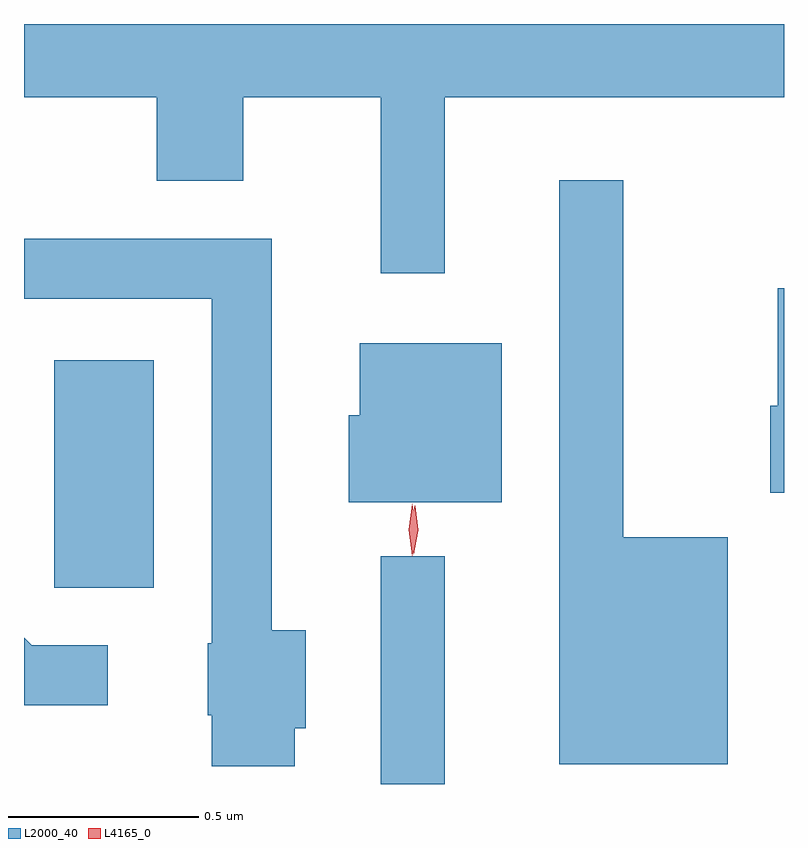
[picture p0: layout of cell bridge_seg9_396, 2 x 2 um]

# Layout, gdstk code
import gdstk
lib = gdstk.Library(unit=1e-6, precision=1e-09)
def R(c, l, rs):  # rectangles x0, y0, x1, y1
    for r in rs: c.add(gdstk.rectangle(r[:2], r[2:], *l))
def P(c, l, *ps):  # polygons
    for p in ps: c.add(gdstk.Polygon(p, *l))
L2000_40 = (2000, 40)
L4165_0 = (4165, 0)

bridge_seg9_396 = lib.new_cell('bridge_seg9_396')
R(bridge_seg9_396, L2000_40, [(1017.141,1976.689,1017.309,1977.288), (1016.281,1977.206,1016.544,1977.804)])
P(bridge_seg9_396, L2000_40, [(1017.309,1978.496),(1018.202,1978.496),(1018.202,1978.689),(1016.202,1978.689),(1016.202,1978.496),(1016.551,1978.496),(1016.551,1978.276),(1016.779,1978.276),(1016.779,1978.496),(1017.141,1978.496),(1017.141,1978.033),(1017.309,1978.033)],
  [(1018.054,1977.339),(1017.779,1977.339),(1017.779,1978.278),(1017.611,1978.278),(1017.611,1976.741),(1018.054,1976.741)],
  [(1016.914,1976.836),(1016.944,1976.836),(1016.944,1977.094),(1016.854,1977.094),(1016.854,1978.124),(1016.202,1978.124),(1016.202,1977.966),(1016.696,1977.966),(1016.696,1977.06),(1016.686,1977.06),(1016.686,1976.87),(1016.696,1976.87),(1016.696,1976.736),(1016.914,1976.736)],
  [(1018.202,1977.994),(1018.186,1977.994),(1018.186,1977.684),(1018.166,1977.684),(1018.166,1977.456),(1018.202,1977.456)],
  [(1017.459,1977.849),(1017.086,1977.849),(1017.086,1977.659),(1017.056,1977.659),(1017.056,1977.431),(1017.459,1977.431)],
  [(1016.423,1977.054),(1016.222,1977.054),(1016.202,1977.074),(1016.202,1976.896),(1016.423,1976.896)])
P(bridge_seg9_396, L4165_0, [(1017.224,1977.289),(1017.224,1977.29),(1017.214,1977.358),(1017.224,1977.425),(1017.224,1977.426),(1017.224,1977.425),(1017.234,1977.358),(1017.224,1977.29)],
  [(1017.228,1977.293),(1017.228,1977.293),(1017.219,1977.357),(1017.23,1977.421),(1017.23,1977.421),(1017.231,1977.421),(1017.239,1977.357),(1017.228,1977.293)])

lib.write_gds('bridge_seg9_396.gds')
